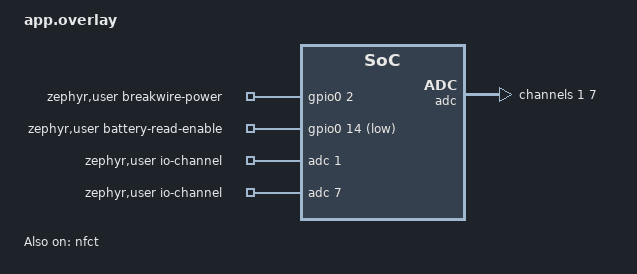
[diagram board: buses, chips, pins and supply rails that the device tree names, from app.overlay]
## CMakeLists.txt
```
cmake_minimum_required(VERSION 3.20.0)
find_package(Zephyr REQUIRED HINTS $ENV{ZEPHYR_BASE})

project(wire-sensor)

target_sources(app PRIVATE
  src/main.c
  src/app_state.c
  src/app_events.c
  src/app_ui.c
  src/app_controller.c
  src/app_identity.c
  src/sensor.c
  src/battery.c
  src/ble.c
  src/led_status.c
  src/nfc_pairing.c
  src/session_crypto.c
)
```

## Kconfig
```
source "Kconfig.zephyr"

menu "Wire sensor application"

config APP_SENSOR_SAMPLE_INTERVAL_MS
	int "Sensor sampling interval (ms)"
	default 2000
	range 250 60000

config APP_SENSOR_BROKEN_THRESHOLD
	int "Breakwire broken threshold (raw ADC, 12-bit)"
	default 2048
	range 0 4095

config APP_ADC_SAMPLE_COUNT
	int "ADC sample count for sensor and battery averaging"
	default 8
	range 5 10

config APP_BATTERY_EMPTY_MV
	int "LiPo battery empty voltage (mV)"
	default 3300
	range 2500 4000

config APP_BATTERY_FULL_MV
	int "LiPo battery full voltage (mV)"
	default 4200
	range 3500 5000

config APP_BATTERY_NOMINAL_MV
	int "LiPo battery nominal voltage (mV)"
	default 3700
	range 3000 4000

config APP_BATTERY_CAPACITY_MAH
	int "LiPo battery capacity (mAh)"
	default 400
	range 50 10000

config APP_BATTERY_DEFAULT_PERCENT
	int "Battery fallback percent when ADC is unavailable"
	default 50
	range 0 100

config APP_BATTERY_LOW_PERCENT
	int "Battery low threshold (%) for red LED blink"
	default 10
	range 0 100

config APP_BATTERY_LOW_CLEAR_PERCENT
	int "Battery low clear threshold (%) for red LED blink hysteresis"
	default 14
	range 0 100

config APP_BATTERY_DIVIDER_NUMERATOR
	int "Battery divider numerator (Rtop + Rbottom)"
	default 1510
	range 1 10000
	help
	  Battery voltage is reconstructed from ADC voltage as:
	  vbat_mv = vadc_mv * APP_BATTERY_DIVIDER_NUMERATOR /
	            APP_BATTERY_DIVIDER_DENOMINATOR.
	  XIAO nRF52840 uses approximately 1M/510k, so numerator is 1510.

config APP_BATTERY_DIVIDER_DENOMINATOR
	int "Battery divider denominator (Rbottom)"
	default 510
	range 1 10000
	help
	  For XIAO nRF52840's approximately 1M/510k divider, denominator is 510.

config APP_BATTERY_USB_AWARE_ENABLE_GATING
	bool "Disable battery read path between samples when USB power is absent"
	default n
	help
	  Safe default keeps the battery read path enabled all the time.
	  When enabled, the app can optionally disable the read path between
	  samples, but only while USB power is absent. This requires defining
	  zephyr,user battery-usb-present-gpios in app.overlay.

config APP_ENABLE_NFC
	bool "Enable NFC pairing gate scaffold"
	default y

config APP_BLE_ADVERTISING_TIMEOUT_MS
	int "BLE advertising timeout after NFC trigger (ms)"
	default 60000
	range 5000 600000

endmenu
```

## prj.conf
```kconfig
CONFIG_GPIO=y
CONFIG_ADC=y

CONFIG_ENTROPY_GENERATOR=y

CONFIG_BT=y
CONFIG_BT_PERIPHERAL=y
CONFIG_BT_DEVICE_NAME="WireSensor"
CONFIG_BT_DEVICE_NAME_DYNAMIC=y
CONFIG_BT_SMP=y
CONFIG_BT_BONDABLE=y
CONFIG_BT_SETTINGS=y
CONFIG_BT_GATT_SERVICE_CHANGED=y
CONFIG_BT_BAS=y
CONFIG_BT_PRIVACY=y

CONFIG_SETTINGS=y
CONFIG_HWINFO=y
CONFIG_FLASH=y
CONFIG_FLASH_MAP=y
CONFIG_NVS=y
CONFIG_SETTINGS_NVS=y
CONFIG_REBOOT=y

CONFIG_APP_ENABLE_NFC=y
CONFIG_NFC_T2T_NRFXLIB=y
CONFIG_NFC_NDEF=y
CONFIG_NFC_NDEF_MSG=y
CONFIG_NFC_NDEF_RECORD=y
CONFIG_NFC_NDEF_TEXT_RECORD=y
CONFIG_NFC_PLATFORM=y

CONFIG_LOG=y
CONFIG_LOG_DEFAULT_LEVEL=2
```

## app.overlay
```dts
#include <zephyr/dt-bindings/adc/nrf-saadc.h>
#include <zephyr/dt-bindings/adc/adc.h>

/ {
	zephyr,user {
		breakwire-power-gpios = <&gpio0 2 GPIO_ACTIVE_HIGH>;
		battery-read-enable-gpios = <&gpio0 14 GPIO_ACTIVE_LOW>;
		/* Optional for CONFIG_APP_BATTERY_USB_AWARE_ENABLE_GATING: active-high USB-present signal. */
		/* battery-usb-present-gpios = <&gpio0 X GPIO_ACTIVE_HIGH>; */
		io-channels = <&adc 1>, <&adc 7>;
	};
};

&nfct {
	status = "okay";
};

&adc {
	status = "okay";
	#address-cells = <1>;
	#size-cells = <0>;

	channel@1 {
		reg = <1>;
		zephyr,gain = "ADC_GAIN_1_6";
		zephyr,reference = "ADC_REF_INTERNAL";
		zephyr,acquisition-time = <ADC_ACQ_TIME_DEFAULT>;
		zephyr,resolution = <12>;
		zephyr,input-positive = <NRF_SAADC_AIN1>;
	};

	channel@7 {
		reg = <7>;
		zephyr,gain = "ADC_GAIN_1_6";
		zephyr,reference = "ADC_REF_INTERNAL";
		zephyr,acquisition-time = <ADC_ACQ_TIME_DEFAULT>;
		zephyr,resolution = <12>;
		zephyr,input-positive = <NRF_SAADC_AIN7>;
	};
};
```

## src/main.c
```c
#include <zephyr/kernel.h>
#include <zephyr/logging/log.h>

#include "app_controller.h"

LOG_MODULE_REGISTER(wire_sensor_main, LOG_LEVEL_INF);

int main(void)
{
	int err;

	err = app_controller_init();
	if (err != 0) {
		LOG_ERR("App controller init failed: %d", err);
		return err;
	}

	while (true) {
		k_sleep(K_SECONDS(10));
	}

	return 0;
}
```

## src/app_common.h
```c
#ifndef APP_COMMON_H_
#define APP_COMMON_H_

#include <stdbool.h>
#include <stdint.h>

#define APP_SESSION_KEY_LEN 16U

enum app_sensor_state {
	APP_SENSOR_STATE_INTACT = 0U,
	APP_SENSOR_STATE_BROKEN = 1U,
};

struct app_telemetry_plaintext {
	uint32_t sample_counter;
	uint16_t sensor_raw;
	uint8_t sensor_state;
	uint8_t battery_level;
	uint8_t flags;
	uint8_t reserved[3];
};

bool app_pairing_is_in_progress(void);

#endif /* APP_COMMON_H_ */
```

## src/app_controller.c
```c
#include "app_controller.h"

#include <errno.h>
#include <string.h>
#include <stdio.h>

#include <hal/nrf_uicr.h>
#include <zephyr/kernel.h>
#include <zephyr/logging/log.h>
#include <zephyr/sys/printk.h>
#include <zephyr/sys/util.h>

#include "app_common.h"
#include "app_events.h"
#include "app_identity.h"
#include "app_state.h"
#include "app_ui.h"
#include "battery.h"
#include "ble.h"
#include "nfc_pairing.h"
#include "sensor.h"
#include "session_crypto.h"

LOG_MODULE_REGISTER(app_controller, LOG_LEVEL_INF);

static struct k_work_delayable sample_work;
static struct k_work_delayable adv_timeout_work;
static uint32_t sample_counter;

static void app_controller_ble_event_handler(enum app_ble_event event);
static void app_controller_nfc_trigger_handler(void);

static bool app_nfc_uicr_allows_nfc(void)
{
	uint32_t nfcpins = NRF_UICR->NFCPINS;
	bool nfc_enabled = ((nfcpins & UICR_NFCPINS_PROTECT_Msk) ==
			    (UICR_NFCPINS_PROTECT_NFC << UICR_NFCPINS_PROTECT_Pos));

	LOG_INF("UICR.NFCPINS=0x%08x (%s)", nfcpins,
		nfc_enabled ? "NFC pins enabled" : "NFC pins disabled as GPIO");

	if (!nfc_enabled) {
		LOG_ERR("NFC will not work until UICR is erased/reset to NFC mode");
	}

	return nfc_enabled;
}

static void app_key_to_hex(const uint8_t *key, char *dst, size_t dst_len)
{
	size_t i;
	size_t idx = 0U;

	if ((key == NULL) || (dst == NULL) || (dst_len == 0U)) {
		return;
	}

	for (i = 0U; (i < APP_SESSION_KEY_LEN) && ((idx + 2U) < dst_len); ++i) {
		int written = snprintf(&dst[idx], dst_len - idx, "%02X", key[i]);

		if (written < 0) {
			break;
		}

		idx += (size_t)written;
	}

	dst[idx] = '\0';
}

static int app_prepare_session_key(void)
{
	int err;
	const uint8_t *key;
	char hex_key[(APP_SESSION_KEY_LEN * 2U) + 1U];

	app_session_key_zeroize();
	err = app_session_key_generate();
	if (err != 0) {
		return err;
	}

	key = app_session_key_get();
	if (key == NULL) {
		return -EINVAL;
	}

	memset(hex_key, 0, sizeof(hex_key));
	app_key_to_hex(key, hex_key, sizeof(hex_key));
	printk("SESSION_KEY_HEX:%s\n", hex_key);
	LOG_INF("Session key refreshed");

	return app_nfc_update_session_key(key);
}

static void app_pairing_begin(void)
{
	int err;

	err = app_ble_start_pairing_advertising();
	if (err != 0) {
		LOG_ERR("Failed to start BLE advertising from NFC trigger: %d", err);
		(void)app_ui_post(APP_UI_CMD_FAULT, false);
		return;
	}

	app_state_set_pairing(true);
	(void)app_ui_post(APP_UI_CMD_SHOW_PAIRING_IN_PROGRESS, false);
	(void)k_work_reschedule(&adv_timeout_work,
				K_MSEC(CONFIG_APP_BLE_ADVERTISING_TIMEOUT_MS));
}

static void app_pairing_end(bool paired)
{
	(void)k_work_cancel_delayable(&adv_timeout_work);
	app_state_set_pairing(false);

	if (paired) {
		(void)app_ui_post(APP_UI_CMD_SHOW_BLE_PAIRED, false);
	} else {
		(void)app_ui_post(APP_UI_CMD_SHOW_WAITING_NFC, false);
	}
}

static void app_handle_sample_tick(void)
{
	int err;
	bool is_broken = false;
	uint16_t raw_value = 0U;
	uint8_t battery_level = 0U;
	struct app_telemetry_plaintext plaintext = {0};
	uint8_t encrypted_payload[sizeof(plaintext)];

	err = breakwire_sensor_read(&raw_value, &is_broken);
	if (err != 0) {
		LOG_ERR("Sensor read failed: %d", err);
		(void)app_ui_post(APP_UI_CMD_FAULT, false);
		goto reschedule;
	}

	err = app_battery_sample(&battery_level);
	if (err != 0) {
		LOG_ERR("Battery read failed: %d", err);
		(void)app_ui_post(APP_UI_CMD_FAULT, false);
		goto reschedule;
	}

	if (!app_state_is_low_battery()) {
		if (battery_level < CONFIG_APP_BATTERY_LOW_PERCENT) {
			app_state_set_low_battery(true);
		}
	} else if (battery_level >= CONFIG_APP_BATTERY_LOW_CLEAR_PERCENT) {
		app_state_set_low_battery(false);
	}
	(void)app_ui_post(APP_UI_CMD_SET_LOW_BATTERY, app_state_is_low_battery());

	if (app_ble_is_connected()) {
		(void)app_ble_set_battery_level(battery_level);
	}

	++sample_counter;
	plaintext.sample_counter = sample_counter;
	plaintext.sensor_raw = raw_value;
	plaintext.sensor_state = is_broken ? APP_SENSOR_STATE_BROKEN : APP_SENSOR_STATE_INTACT;
	plaintext.battery_level = battery_level;
	plaintext.flags = app_ble_is_paired() ? BIT(0) : 0U;

	if ((sample_counter % 10U) == 0U || is_broken) {
		LOG_INF("Sample=%u raw=%u state=%s batt=%u%% ble=%s paired=%s",
			sample_counter, raw_value, is_broken ? "BROKEN" : "INTACT",
			battery_level, app_ble_is_connected() ? "CONNECTED" : "DISCONNECTED",
			app_ble_is_paired() ? "YES" : "NO");
	}

	if (!app_ble_is_connected() || !app_session_key_is_ready()) {
		goto reschedule;
	}

	memcpy(encrypted_payload, &plaintext, sizeof(plaintext));
	app_session_xor_encrypt(encrypted_payload, sizeof(encrypted_payload));
	err = app_ble_notify_encrypted(encrypted_payload, sizeof(encrypted_payload));
	if (err != 0) {
		LOG_WRN("BLE notify deferred: %d", err);
		(void)app_ui_post(APP_UI_CMD_FAULT, false);
		goto reschedule;
	}

	(void)app_ui_post(APP_UI_CMD_BLINK_DATA_PUSH, false);

reschedule:
	(void)k_work_reschedule(&sample_work, K_MSEC(CONFIG_APP_SENSOR_SAMPLE_INTERVAL_MS));
}

static void app_controller_handle_event(const struct app_event *event)
{
	int err;

	switch (event->type) {
	case APP_EVENT_NFC_TRIGGER:
		if (app_state_is_connected() || app_state_is_pairing()) {
			break;
		}

		(void)app_ui_post(APP_UI_CMD_BLINK_NFC_SEEN, false);
		LOG_INF("NFC triggered BLE advertising start");
		app_pairing_begin();
		break;
	case APP_EVENT_BLE_CONNECTED:
		app_state_set_connected(true);
		(void)k_work_cancel_delayable(&adv_timeout_work);
		(void)app_ble_stop_advertising();
		break;
	case APP_EVENT_BLE_DISCONNECTED:
		app_state_set_connected(false);
		app_pairing_end(false);
		err = app_prepare_session_key();
		if (err != 0) {
			LOG_ERR("Session key refresh failed: %d", err);
			(void)app_ui_post(APP_UI_CMD_FAULT, false);
		}
		break;
	case APP_EVENT_BLE_PAIRED:
		app_state_set_paired(true);
		app_pairing_end(true);
		break;
	case APP_EVENT_SAMPLE_TICK:
		app_handle_sample_tick();
		break;
	case APP_EVENT_ADV_TIMEOUT:
		if (app_ble_is_advertising()) {
			LOG_INF("BLE advertising timeout expired");
			(void)app_ble_stop_advertising();
		}

		if (!app_ble_is_connected()) {
			app_pairing_end(false);
		}
		break;
	default:
		break;
	}
}

static void app_controller_thread(void *arg1, void *arg2, void *arg3)
{
	struct app_event event;

	ARG_UNUSED(arg1);
	ARG_UNUSED(arg2);
	ARG_UNUSED(arg3);

	while (true) {
		(void)app_events_receive(&event, K_FOREVER);
		app_controller_handle_event(&event);
	}
}

K_THREAD_DEFINE(app_controller_tid, 2048, app_controller_thread, NULL, NULL, NULL, 6, 0, 0);

static void sample_work_handler(struct k_work *work)
{
	struct app_event event = {
		.type = APP_EVENT_SAMPLE_TICK,
	};

	ARG_UNUSED(work);
	(void)app_events_publish(&event, K_NO_WAIT);
}

static void adv_timeout_work_handler(struct k_work *work)
{
	struct app_event event = {
		.type = APP_EVENT_ADV_TIMEOUT,
	};

	ARG_UNUSED(work);
	(void)app_events_publish(&event, K_NO_WAIT);
}

static void app_controller_ble_event_handler(enum app_ble_event event)
{
	struct app_event app_event;

	switch (event) {
	case APP_BLE_EVENT_CONNECTED:
		app_event.type = APP_EVENT_BLE_CONNECTED;
		break;
	case APP_BLE_EVENT_DISCONNECTED:
		app_event.type = APP_EVENT_BLE_DISCONNECTED;
		break;
	case APP_BLE_EVENT_PAIRED:
		app_event.type = APP_EVENT_BLE_PAIRED;
		break;
	default:
		return;
	}

	(void)app_events_publish(&app_event, K_NO_WAIT);
}

static void app_controller_nfc_trigger_handler(void)
{
	struct app_event event = {
		.type = APP_EVENT_NFC_TRIGGER,
	};

	(void)app_events_publish(&event, K_NO_WAIT);
}

int app_controller_init(void)
{
	int err;

	app_state_init();

	err = app_ui_init();
	if (err != 0) {
		LOG_ERR("LED init failed: %d", err);
		return err;
	}

	(void)app_nfc_uicr_allows_nfc();

	err = app_nfc_pairing_init(app_controller_nfc_trigger_handler);
	if (err != 0) {
		LOG_ERR("NFC init failed: %d", err);
		(void)app_ui_post(APP_UI_CMD_FAULT, false);
		return err;
	}

	err = app_prepare_session_key();
	if (err != 0) {
		LOG_ERR("Session key setup failed: %d", err);
		(void)app_ui_post(APP_UI_CMD_FAULT, false);
		return err;
	}

	err = breakwire_sensor_init();
	if (err != 0) {
		LOG_ERR("Sensor init failed: %d", err);
		(void)app_ui_post(APP_UI_CMD_FAULT, false);
		return err;
	}

	err = app_battery_init();
	if (err != 0) {
		LOG_ERR("Battery init failed: %d", err);
		(void)app_ui_post(APP_UI_CMD_FAULT, false);
		return err;
	}

	err = app_ble_init(app_controller_ble_event_handler);
	if (err != 0) {
		LOG_ERR("BLE init failed: %d", err);
		(void)app_ui_post(APP_UI_CMD_FAULT, false);
		return err;
	}

	err = app_ble_set_device_name(app_identity_ble_name());
	if (err != 0) {
		LOG_ERR("BLE device name setup failed: %d", err);
		(void)app_ui_post(APP_UI_CMD_FAULT, false);
		return err;
	}

	(void)app_ui_post(APP_UI_CMD_SHOW_WAITING_NFC, false);
	LOG_INF("Wire Sensor started; waiting for NFC trigger");

	k_work_init_delayable(&adv_timeout_work, adv_timeout_work_handler);
	k_work_init_delayable(&sample_work, sample_work_handler);
	(void)k_work_reschedule(&sample_work, K_NO_WAIT);

	return 0;
}
```

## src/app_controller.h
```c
#ifndef APP_CONTROLLER_H_
#define APP_CONTROLLER_H_

int app_controller_init(void);

#endif /* APP_CONTROLLER_H_ */
```

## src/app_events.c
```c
#include "app_events.h"

#include <errno.h>

K_MSGQ_DEFINE(app_events_queue, sizeof(struct app_event), 16, 4);

int app_events_publish(const struct app_event *event, k_timeout_t timeout)
{
	if (event == NULL) {
		return -EINVAL;
	}

	return k_msgq_put(&app_events_queue, event, timeout);
}

int app_events_receive(struct app_event *event, k_timeout_t timeout)
{
	if (event == NULL) {
		return -EINVAL;
	}

	return k_msgq_get(&app_events_queue, event, timeout);
}
```

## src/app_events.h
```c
#ifndef APP_EVENTS_H_
#define APP_EVENTS_H_

#include <zephyr/kernel.h>

enum app_event_type {
	APP_EVENT_NFC_TRIGGER = 0,
	APP_EVENT_BLE_CONNECTED,
	APP_EVENT_BLE_DISCONNECTED,
	APP_EVENT_BLE_PAIRED,
	APP_EVENT_SAMPLE_TICK,
	APP_EVENT_ADV_TIMEOUT,
};

struct app_event {
	enum app_event_type type;
};

int app_events_publish(const struct app_event *event, k_timeout_t timeout);
int app_events_receive(struct app_event *event, k_timeout_t timeout);

#endif /* APP_EVENTS_H_ */
```

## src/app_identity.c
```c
#include "app_identity.h"

#include <errno.h>
#include <stdbool.h>
#include <stdio.h>
#include <string.h>

#include <hal/nrf_ficr.h>
#include <zephyr/drivers/hwinfo.h>
#include <zephyr/kernel.h>
#include <zephyr/logging/log.h>

LOG_MODULE_REGISTER(app_identity, LOG_LEVEL_INF);

static char device_name[APP_DEVICE_NAME_LEN];
static bool initialized;

static void app_identity_generate_name(void)
{
	uint8_t eui64[8] = {0};
	int err;

	err = hwinfo_get_device_eui64(eui64);
	if (err != 0) {
		#if defined(NRF_FICR)
		uint32_t device_id_lo = NRF_FICR->DEVICEID[0];
		uint32_t device_id_hi = NRF_FICR->DEVICEID[1];
		uint64_t unique_id = ((uint64_t)device_id_hi << 32U) | (uint64_t)device_id_lo;

			LOG_WRN("hwinfo_get_device_eui64 failed: %d; using FICR DEVICEID", err);
			snprintf(device_name, sizeof(device_name), "%s%016llX",
				APP_DEVICE_NAME_PREFIX,
				(unsigned long long)unique_id);
			LOG_INF("Generated device BLE name: %s", device_name);
		#else
			LOG_ERR("hwinfo_get_device_eui64 failed: %d", err);
			memset(device_name, 0, sizeof(device_name));
			strncpy(device_name, "AS-UNKNOWN", sizeof(device_name) - 1U);
			device_name[sizeof(device_name) - 1U] = '\0';
			LOG_INF("Generated fallback device BLE name: %s", device_name);
		#endif
		device_name[sizeof(device_name) - 1U] = '\0';
		initialized = true;
		return;
	}

	snprintf(device_name, sizeof(device_name), "%s%02X%02X%02X%02X%02X%02X%02X%02X",
		 APP_DEVICE_NAME_PREFIX,
		eui64[0], eui64[1], eui64[2], eui64[3],
		eui64[4], eui64[5], eui64[6], eui64[7]);
	LOG_INF("Generated device BLE name: %s", device_name);

	device_name[sizeof(device_name) - 1U] = '\0';
	initialized = true;
}

int app_identity_get_ble_name(char *buf, size_t buf_len)
{
	if (!initialized) {
		app_identity_generate_name();
	}

	if ((buf == NULL) || (buf_len == 0U)) {
		return -EINVAL;
	}

	if (strlen(device_name) + 1U > buf_len) {
		return -ENOMEM;
	}

	memset(buf, 0, buf_len);
	strncpy(buf, device_name, buf_len - 1U);
	buf[buf_len - 1U] = '\0';
	return 0;
}

const char *app_identity_ble_name(void)
{
	if (!initialized) {
		app_identity_generate_name();
	}

	return device_name;
}
```

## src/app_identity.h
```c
#ifndef APP_IDENTITY_H_
#define APP_IDENTITY_H_

#include <stddef.h>

#define APP_DEVICE_NAME_PREFIX "AS-"
#define APP_DEVICE_NAME_LEN 32U

int app_identity_get_ble_name(char *buf, size_t buf_len);
const char *app_identity_ble_name(void);

#endif /* APP_IDENTITY_H_ */
```

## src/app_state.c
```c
#include "app_state.h"

#include "app_common.h"

static enum app_runtime_state current_state = APP_STATE_BOOTING;
static bool pairing_in_progress;
static bool low_battery_active;
static bool ble_connected;
static bool ble_paired;
static bool faulted;

static void recompute_state(void)
{
	if (faulted) {
		current_state = APP_STATE_FAULT;
		return;
	}

	if (ble_paired) {
		current_state = APP_STATE_PAIRED;
		return;
	}

	if (ble_connected) {
		current_state = APP_STATE_CONNECTED;
		return;
	}

	if (pairing_in_progress) {
		current_state = APP_STATE_PAIRING;
		return;
	}

	current_state = APP_STATE_WAITING_NFC;
}

void app_state_init(void)
{
	current_state = APP_STATE_BOOTING;
	pairing_in_progress = false;
	low_battery_active = false;
	ble_connected = false;
	ble_paired = false;
	faulted = false;
	current_state = APP_STATE_WAITING_NFC;
}

void app_state_set_pairing(bool in_progress)
{
	pairing_in_progress = in_progress;
	recompute_state();
}

bool app_state_is_pairing(void)
{
	return pairing_in_progress;
}

void app_state_set_low_battery(bool active)
{
	low_battery_active = active;
}

bool app_state_is_low_battery(void)
{
	return low_battery_active;
}

void app_state_set_connected(bool connected)
{
	ble_connected = connected;
	if (!connected) {
		ble_paired = false;
	}
	recompute_state();
}

bool app_state_is_connected(void)
{
	return ble_connected;
}

void app_state_set_paired(bool paired)
{
	ble_paired = paired;
	if (paired) {
		ble_connected = true;
	}
	recompute_state();
}

bool app_state_is_paired(void)
{
	return ble_paired;
}

void app_state_set_fault(bool is_faulted)
{
	faulted = is_faulted;
	recompute_state();
}

bool app_state_is_faulted(void)
{
	return faulted;
}

enum app_runtime_state app_state_get(void)
{
	return current_state;
}

bool app_pairing_is_in_progress(void)
{
	return app_state_is_pairing();
}
```

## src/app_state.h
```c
#ifndef APP_STATE_H_
#define APP_STATE_H_

#include <stdbool.h>

enum app_runtime_state {
	APP_STATE_BOOTING = 0,
	APP_STATE_WAITING_NFC,
	APP_STATE_PAIRING,
	APP_STATE_CONNECTED,
	APP_STATE_PAIRED,
	APP_STATE_FAULT,
};

void app_state_init(void);
void app_state_set_pairing(bool in_progress);
bool app_state_is_pairing(void);
void app_state_set_low_battery(bool active);
bool app_state_is_low_battery(void);
void app_state_set_connected(bool connected);
bool app_state_is_connected(void);
void app_state_set_paired(bool paired);
bool app_state_is_paired(void);
void app_state_set_fault(bool faulted);
bool app_state_is_faulted(void);
enum app_runtime_state app_state_get(void);

#endif /* APP_STATE_H_ */
```

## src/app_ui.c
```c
#include "app_ui.h"

#include <errno.h>

#include <zephyr/kernel.h>

#include "led_status.h"

struct app_ui_event {
	enum app_ui_cmd cmd;
	bool value;
};

K_MSGQ_DEFINE(app_ui_queue, sizeof(struct app_ui_event), 16, 4);

static void app_ui_thread(void *arg1, void *arg2, void *arg3)
{
	struct app_ui_event event;

	ARG_UNUSED(arg1);
	ARG_UNUSED(arg2);
	ARG_UNUSED(arg3);

	while (true) {
		(void)k_msgq_get(&app_ui_queue, &event, K_FOREVER);

		switch (event.cmd) {
		case APP_UI_CMD_SHOW_WAITING_NFC:
			app_led_show_waiting_nfc();
			break;
		case APP_UI_CMD_BLINK_NFC_SEEN:
			app_led_blink_nfc_seen();
			break;
		case APP_UI_CMD_SHOW_PAIRING_IN_PROGRESS:
			app_led_show_pairing_in_progress();
			break;
		case APP_UI_CMD_SHOW_BLE_PAIRED:
			app_led_show_ble_paired();
			break;
		case APP_UI_CMD_BLINK_DATA_PUSH:
			app_led_blink_data_push();
			break;
		case APP_UI_CMD_SET_LOW_BATTERY:
			app_led_set_low_battery(event.value);
			break;
		case APP_UI_CMD_FAULT:
			app_led_fault();
			break;
		default:
			break;
		}
	}
}

K_THREAD_DEFINE(app_ui_tid, 1024, app_ui_thread, NULL, NULL, NULL, 7, 0, 0);

int app_ui_init(void)
{
	return app_led_status_init();
}

int app_ui_post(enum app_ui_cmd cmd, bool value)
{
	struct app_ui_event event = {
		.cmd = cmd,
		.value = value,
	};

	return k_msgq_put(&app_ui_queue, &event, K_NO_WAIT);
}
```

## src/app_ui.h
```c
#ifndef APP_UI_H_
#define APP_UI_H_

#include <stdbool.h>

enum app_ui_cmd {
	APP_UI_CMD_SHOW_WAITING_NFC = 0,
	APP_UI_CMD_BLINK_NFC_SEEN,
	APP_UI_CMD_SHOW_PAIRING_IN_PROGRESS,
	APP_UI_CMD_SHOW_BLE_PAIRED,
	APP_UI_CMD_BLINK_DATA_PUSH,
	APP_UI_CMD_SET_LOW_BATTERY,
	APP_UI_CMD_FAULT,
};

int app_ui_init(void);
int app_ui_post(enum app_ui_cmd cmd, bool value);

#endif /* APP_UI_H_ */
```

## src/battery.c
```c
#include "battery.h"

#include <errno.h>

#include <zephyr/device.h>
#include <zephyr/devicetree.h>
#include <zephyr/drivers/adc.h>
#include <zephyr/drivers/gpio.h>
#include <zephyr/kernel.h>
#include <zephyr/sys/util.h>

#define BATTERY_USER_NODE DT_PATH(zephyr_user)
#define BATTERY_READ_SETTLE_MS 5

struct lipo_ocv_point {
	int32_t mv;
	uint8_t percent;
};

/*
 * LiPo open-circuit voltage profile for 1S cells.
 * Percent is linearly interpolated between adjacent points.
 */
static const struct lipo_ocv_point lipo_ocv_profile[] = {
	{ 3300, 0 },
	{ 3400, 1 },
	{ 3500, 4 },
	{ 3600, 9 },
	{ 3650, 14 },
	{ 3700, 24 },
	{ 3750, 36 },
	{ 3800, 46 },
	{ 3850, 55 },
	{ 3900, 64 },
	{ 3950, 72 },
	{ 4000, 78 },
	{ 4050, 84 },
	{ 4100, 90 },
	{ 4150, 95 },
	{ 4200, 100 },
};

static const struct adc_dt_spec battery_adc =
	ADC_DT_SPEC_GET_BY_IDX(BATTERY_USER_NODE, 1);
static const struct gpio_dt_spec battery_read_enable =
	GPIO_DT_SPEC_GET(BATTERY_USER_NODE, battery_read_enable_gpios);

#if CONFIG_APP_BATTERY_USB_AWARE_ENABLE_GATING
#if DT_NODE_HAS_PROP(BATTERY_USER_NODE, battery_usb_present_gpios)
static const struct gpio_dt_spec battery_usb_present =
	GPIO_DT_SPEC_GET(BATTERY_USER_NODE, battery_usb_present_gpios);
#define APP_BATTERY_HAS_USB_PRESENT_GPIO 1
#else
#define APP_BATTERY_HAS_USB_PRESENT_GPIO 0
#endif
#endif

static int set_battery_read_path_enabled(bool enabled)
{
	return gpio_pin_set_dt(&battery_read_enable, enabled ? 1 : 0);
}

#if CONFIG_APP_BATTERY_USB_AWARE_ENABLE_GATING
static int usb_power_present(bool *present)
{
	int value;

	if (present == NULL) {
		return -EINVAL;
	}

#if !APP_BATTERY_HAS_USB_PRESENT_GPIO
	return -ENOTSUP;
#else
	value = gpio_pin_get_dt(&battery_usb_present);
	if (value < 0) {
		return value;
	}

	*present = (value != 0);
	return 0;
#endif
}
#endif

int app_battery_init(void)
{
	int err;
#if CONFIG_APP_BATTERY_USB_AWARE_ENABLE_GATING
	bool usb_present = false;
#endif

	if (!device_is_ready(battery_read_enable.port)) {
		return -ENODEV;
	}

	err = gpio_pin_configure_dt(&battery_read_enable, GPIO_OUTPUT_ACTIVE);
	if (err != 0) {
		return err;
	}

	if (!adc_is_ready_dt(&battery_adc)) {
		return -ENODEV;
	}

	err = adc_channel_setup_dt(&battery_adc);
	if (err != 0) {
		return err;
	}

#if CONFIG_APP_BATTERY_USB_AWARE_ENABLE_GATING
#if !APP_BATTERY_HAS_USB_PRESENT_GPIO
	return -ENOTSUP;
#else
	if (!device_is_ready(battery_usb_present.port)) {
		return -ENODEV;
	}

	err = gpio_pin_configure_dt(&battery_usb_present, GPIO_INPUT);
	if (err != 0) {
		return err;
	}

	err = usb_power_present(&usb_present);
	if (err != 0) {
		return err;
	}

	if (!usb_present) {
		err = set_battery_read_path_enabled(false);
		if (err != 0) {
			return err;
		}
	}
#endif
#endif

	return 0;
}

static int sample_battery_adc(uint32_t *average_mv)
{
	int err;
	uint32_t sum = 0U;
	uint8_t i;
	int16_t sample_buffer = 0;
	struct adc_sequence sequence = {
		.buffer = &sample_buffer,
		.buffer_size = sizeof(sample_buffer),
	};

	for (i = 0U; i < CONFIG_APP_ADC_SAMPLE_COUNT; ++i) {
		err = adc_sequence_init_dt(&battery_adc, &sequence);
		if (err != 0) {
			return err;
		}

		err = adc_read_dt(&battery_adc, &sequence);
		if (err != 0) {
			return err;
		}

		if (sample_buffer < 0) {
			sample_buffer = 0;
		}

		sum += (uint32_t)sample_buffer;
		k_sleep(K_MSEC(2));
	}

	*average_mv = sum / CONFIG_APP_ADC_SAMPLE_COUNT;
	return 0;
}

static uint8_t lipo_percent_from_mv(int32_t mv)
{
	size_t i;

	if (mv <= lipo_ocv_profile[0].mv) {
		return 0U;
	}

	if (mv >= lipo_ocv_profile[ARRAY_SIZE(lipo_ocv_profile) - 1U].mv) {
		return 100U;
	}

	for (i = 1U; i < ARRAY_SIZE(lipo_ocv_profile); ++i) {
		const struct lipo_ocv_point *lo = &lipo_ocv_profile[i - 1U];
		const struct lipo_ocv_point *hi = &lipo_ocv_profile[i];
		int32_t span_mv;
		int32_t delta_mv;
		int32_t pct_span;
		int32_t interp;

		if (mv > hi->mv) {
			continue;
		}

		span_mv = hi->mv - lo->mv;
		delta_mv = mv - lo->mv;
		pct_span = (int32_t)hi->percent - (int32_t)lo->percent;

		interp = (int32_t)lo->percent + (delta_mv * pct_span) / span_mv;
		if (interp < 0) {
			return 0U;
		}
		if (interp > 100) {
			return 100U;
		}

		return (uint8_t)interp;
	}

	return 0U;
}

int app_battery_sample(uint8_t *percent)
{
	int err;
	int32_t mv;
	uint32_t average_mv = 0U;
	bool keep_read_path_enabled = true;

	if (percent == NULL) {
		return -EINVAL;
	}

#if CONFIG_APP_BATTERY_USB_AWARE_ENABLE_GATING
	err = usb_power_present(&keep_read_path_enabled);
	if (err != 0) {
		return err;
	}
#endif

	err = set_battery_read_path_enabled(true);
	if (err != 0) {
		return err;
	}

	k_sleep(K_MSEC(BATTERY_READ_SETTLE_MS));

	err = sample_battery_adc(&average_mv);
	if (err != 0) {
		if (!keep_read_path_enabled) {
			(void)set_battery_read_path_enabled(false);
		}
		return err;
	}

	if (!keep_read_path_enabled) {
		err = set_battery_read_path_enabled(false);
		if (err != 0) {
			return err;
		}
	}

	mv = (int32_t)average_mv;
	err = adc_raw_to_millivolts_dt(&battery_adc, &mv);
	if (err != 0) {
		return err;
	}

	mv = (int32_t)(((int64_t)mv * CONFIG_APP_BATTERY_DIVIDER_NUMERATOR) /
		       CONFIG_APP_BATTERY_DIVIDER_DENOMINATOR);

	if (mv <= CONFIG_APP_BATTERY_EMPTY_MV) {
		*percent = 0U;
		return 0;
	}

	if (mv >= CONFIG_APP_BATTERY_FULL_MV) {
		*percent = 100U;
		return 0;
	}

	*percent = lipo_percent_from_mv(mv);
	return 0;
}
```
